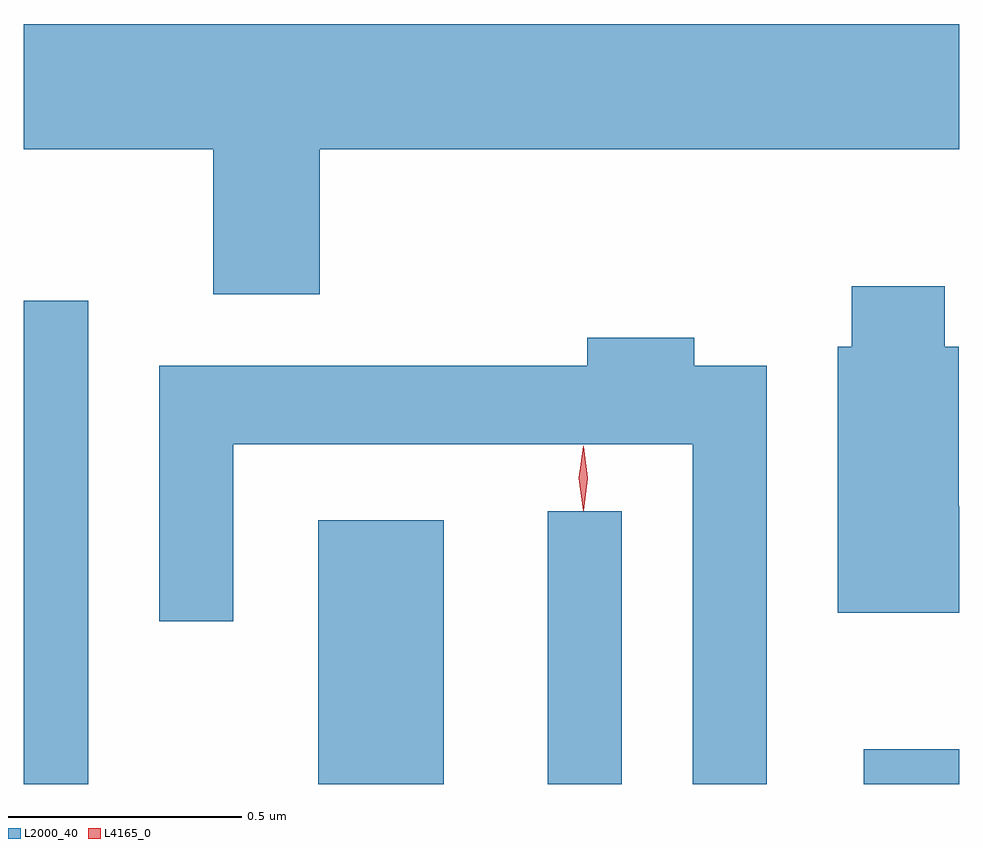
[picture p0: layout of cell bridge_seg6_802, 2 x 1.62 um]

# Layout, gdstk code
import gdstk
lib = gdstk.Library(unit=1e-6, precision=1e-09)
def R(c, l, rs):  # rectangles x0, y0, x1, y1
    for r in rs: c.add(gdstk.rectangle(r[:2], r[2:], *l))
def P(c, l, *ps):  # polygons
    for p in ps: c.add(gdstk.Polygon(p, *l))
L2000_40 = (2000, 40)
L4165_0 = (4165, 0)

bridge_seg6_802 = lib.new_cell('bridge_seg6_802')
R(bridge_seg6_802, L2000_40, [(485.846,1586.42,485.984,1587.453), (486.476,1586.42,486.744,1586.984), (486.966,1586.42,487.124,1587.003), (487.641,1586.42,487.846,1586.494)])
P(bridge_seg6_802, L2000_40, [(486.479,1587.776),(487.846,1587.776),(487.846,1588.044),(485.846,1588.044),(485.846,1587.776),(486.251,1587.776),(486.251,1587.466),(486.479,1587.466)],
  [(487.846,1587.014),(487.844,1587.014),(487.844,1587.354),(487.814,1587.354),(487.814,1587.484),(487.616,1587.484),(487.616,1587.354),(487.586,1587.354),(487.586,1586.786),(487.846,1586.786)],
  [(487.434,1587.314),(487.279,1587.314),(487.279,1587.374),(487.051,1587.374),(487.051,1587.314),(486.136,1587.314),(486.136,1586.768),(486.294,1586.768),(486.294,1587.146),(487.276,1587.146),(487.276,1586.42),(487.434,1586.42)])
P(bridge_seg6_802, L4165_0, [(487.042,1587.003),(487.042,1587.004),(487.032,1587.073),(487.042,1587.142),(487.042,1587.143),(487.043,1587.142),(487.052,1587.073),(487.043,1587.004)],
  [(487.042,1587.007),(487.042,1587.007),(487.032,1587.074),(487.042,1587.14),(487.042,1587.14),(487.043,1587.14),(487.052,1587.074),(487.043,1587.007)])

lib.write_gds('bridge_seg6_802.gds')
